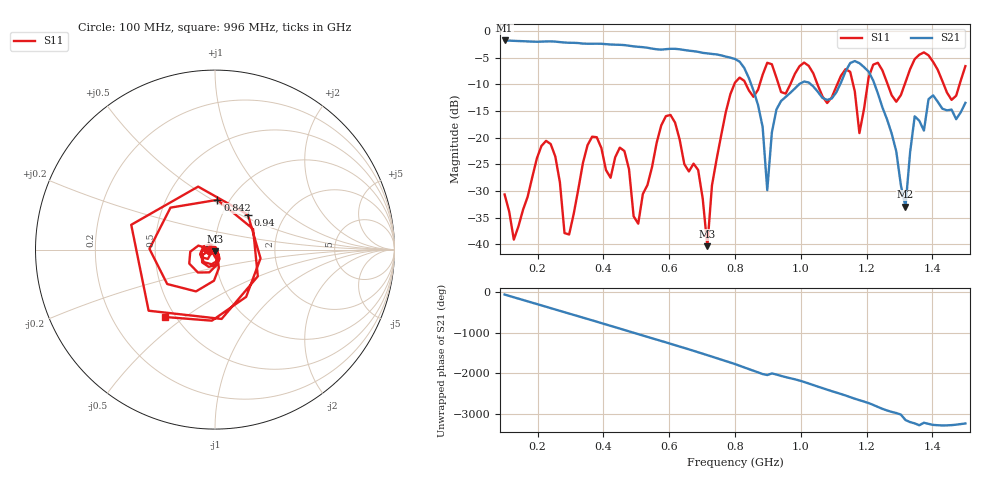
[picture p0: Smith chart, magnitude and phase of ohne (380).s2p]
! NanoVNA-App
! Date: 2025-09-25 14:23:45
! Start: 100MHz Stop: 1,5GHz Points: 101
! S-Parameter data: F S11 S21 S12 S22
# Hz S RI R 50
!  Frequency  S11_Real  S11_Imag  S21_Real  S21_Imag  S12_Real  S12_Imag  S22_Real  S22_Imag
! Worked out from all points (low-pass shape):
!   101 points, 100 MHz to 1.5 GHz, reference 50 ohm
!   highest |S21| = -1.79 dB at 100 MHz (marker M1); lowest = -32.9 dB at 1.318 GHz (marker M2)
!   |S21| within 3 dB of the highest: start of sweep to 770.8 MHz
!   lowest |S11| = -40.3 dB at 716 MHz (marker M3), VSWR 1.02, Z = 49.8 - j0.95 ohm
!   |S11| at or under -10 dB: start of sweep to 797.9 MHz; 833.1 MHz to 875.1 MHz (41.99 MHz wide, 4.92 % of centre); 1.05 GHz to 1.111 GHz (60.28 MHz wide, 5.58 % of centre) (the widest 3 of 7)
!   S12 and S22 are empty: the file has one direction only
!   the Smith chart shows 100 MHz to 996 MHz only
!   S11 on the Smith chart (normalised r, x): 100 MHz: 0.94, -0.01; 842 MHz: 0.88, +0.53; 940 MHz: 1.32, +0.55; 996 MHz: 0.44, -0.42
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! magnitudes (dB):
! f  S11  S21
! 100 MHz  -30.6  -1.8
! 128 MHz  -39.1  -1.9
! 226 MHz  -20.6  -2.0
! 296 MHz  -38.1  -2.2
! 338 MHz  -24.7  -2.4
! 464 MHz  -22.5  -2.7
! 506 MHz  -36.1  -3.0
! 576 MHz  -17.7  -3.5
! 688 MHz  -26.0  -3.9
! 716 MHz  -40.3  -4.2
! 800 MHz  -9.7  -5.3
! 842 MHz  -11.1  -8.8
! 898 MHz  -6.0  -29.8
! 940 MHz  -11.5  -13.1
! 996 MHz  -6.6  -9.9
! 1.038 GHz  -8.0  -10.4
! 1.178 GHz  -19.1  -6.0
! 1.22 GHz  -6.3  -9.3
! 1.276 GHz  -12.1  -19.2
! 1.318 GHz  -9.6  -32.9
! 1.346 GHz  -5.3  -16.0
! 1.5 GHz  -6.6  -13.5
